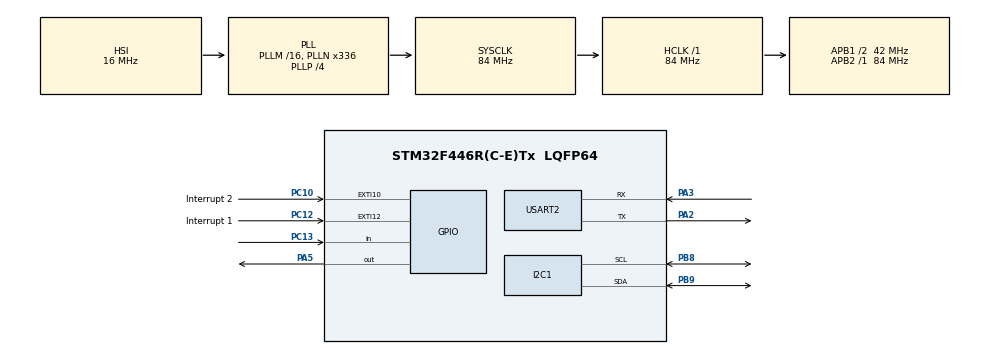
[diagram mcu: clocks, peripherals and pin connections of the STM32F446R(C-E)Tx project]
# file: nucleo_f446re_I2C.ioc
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Mcu.Family=STM32F4
Mcu.Name=STM32F446R(C-E)Tx
Mcu.Package=LQFP64
NVIC.PriorityGroup=NVIC_PRIORITYGROUP_0
PA2.Mode=Asynchronous
PA2.Signal=USART2_TX
PA3.Mode=Asynchronous
PA3.Signal=USART2_RX
PA5.Signal=GPIO_Output
PB8.Mode=I2C
PB8.Signal=I2C1_SCL
PB9.Mode=I2C
PB9.Signal=I2C1_SDA
PC10.GPIO_Label=Interrupt 2
PC10.Signal=GPXTI10
PC12.GPIO_Label=Interrupt 1
PC12.Signal=GPXTI12
PC13.Signal=GPIO_Input
ProjectManager.HeapSize=0x200
ProjectManager.StackSize=0x400
ProjectManager.TargetToolchain=STM32CubeIDE
RCC.AHBFreq_Value=84000000
RCC.APB1CLKDivider=RCC_HCLK_DIV2
RCC.APB1Freq_Value=42000000
RCC.APB1TimFreq_Value=84000000
RCC.APB2Freq_Value=84000000
RCC.APB2TimFreq_Value=84000000
RCC.CortexFreq_Value=84000000
RCC.FLatency-AdvancedSettings=FLASH_LATENCY_2
RCC.HCLKFreq_Value=84000000
RCC.HSE_VALUE=8000000
RCC.HSI_VALUE=16000000
RCC.LSE_VALUE=32768
RCC.PLLN=336
RCC.PLLP=RCC_PLLP_DIV4
RCC.SYSCLKFreq_VALUE=84000000
RCC.SYSCLKSource=RCC_SYSCLKSOURCE_PLLCLK
RCC.USBFreq_Value=168000000
RCC.VCOOutputFreq_Value=336000000
USART2.VirtualMode=VM_ASYNC
board=NUCLEO-F446RE

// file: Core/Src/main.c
/* USER CODE BEGIN Header */
/**
  ******************************************************************************
  * @file           : main.c
  * @brief          : Main program body
  ******************************************************************************
  * @attention
  *
  * Copyright (c) 2024 STMicroelectronics.
  * All rights reserved.
  *
  * This software is licensed under terms that can be found in the LICENSE file
  * in the root directory of this software component.
  * If no LICENSE file comes with this software, it is provided AS-IS.
  *
  ******************************************************************************
  */
/* USER CODE END Header */
#include "main.h"

/* USER CODE BEGIN Includes */
#include "stdio.h"
#include "stdbool.h"
#include "string.h"
/* USER CODE END Includes */

/* USER CODE BEGIN PD */
#define ADXL345_ADDRESS 0x53 << 1
#define ADXL345_DEVID 0x00
#define ADXL345_THRESH_TAP 0x1D
#define ADXL345_TAP_DUR 0x21 //Max time for something to be considered a tap, any more then it isnt?
#define ADXL345_TAP_LAT 0x22 //
#define ADXL345_WINDOW 0x23
#define ADXL345_TAP_AXES 0x2A
#define ADXL345_ACT_TAP_STATUS 0x2B
#define ADXL345_POWER_CTL 0x2D
#define ADXL345_INT_ENABLE 0x2E //Enable tap interupts
#define ADXL345_INT_MAP 0x2F //Map which interupts go to which INT pin
#define ADXL345_INT_SOURCE 0x30 //Status of interupts?
#define ADXL345_DATA_FORMAT 0x31
#define ADXL345_DATAX0 0x32
#define GRAVITY_SCALE 0.003906
/* USER CODE END PD */

I2C_HandleTypeDef hi2c1;

UART_HandleTypeDef huart2;

/* USER CODE BEGIN PV */
float	latest_X;
float	latest_Y;
float	latest_Z;
bool	measuring_data;
char 	char_buff[50];
/* USER CODE END PV */

void SystemClock_Config(void);
static void MX_GPIO_Init(void);
static void MX_I2C1_Init(void);
static void MX_USART2_UART_Init(void);
/* USER CODE BEGIN PFP */

HAL_StatusTypeDef ADXL345_Write(uint8_t reg, uint8_t value) {
    uint8_t data[2] = {reg, value};
    return HAL_I2C_Master_Transmit(&hi2c1, ADXL345_ADDRESS, data, 2, HAL_MAX_DELAY);
}

HAL_StatusTypeDef ADXL345_Read(uint8_t reg, uint8_t *buffer, uint16_t size) {
//	Check to see if sensor is ready to communicate. If so then read sensor
    HAL_StatusTypeDef status = HAL_I2C_Master_Transmit(&hi2c1, ADXL345_ADDRESS, &reg, 1, HAL_MAX_DELAY);
    if (status != HAL_OK) return status;
    return HAL_I2C_Master_Receive(&hi2c1, ADXL345_ADDRESS, buffer, size, HAL_MAX_DELAY);
}

void ADXL345_Init(void) {
    uint8_t buffer;
    // Check device ID
    ADXL345_Read(ADXL345_DEVID, &buffer, 1);
    if (buffer == 0xE5) {

        //Map Interrupts (Single tap on Interrupt 1, Double on Interrupt 2)
		ADXL345_Write(ADXL345_INT_MAP, 0x40);
        //Enable Interrupts
		ADXL345_Write(ADXL345_INT_ENABLE, 0x60);
        // Set Tap threshold (2g = 0.0625* 32) = 0x20
        ADXL345_Write(ADXL345_THRESH_TAP, 0x18);
        // Set Tap duration 10ms
        ADXL345_Write(ADXL345_TAP_DUR, 0x18);
        // Set Tap latency
        ADXL345_Write(ADXL345_TAP_LAT, 0x20);
        // Set Double Tap Window
		ADXL345_Write(ADXL345_WINDOW, 0x18);
		// Enable Tap Axes (Only Z-Axis)
		ADXL345_Write(ADXL345_TAP_AXES, 0x01);
		// Enable measurement mode
		ADXL345_Write(ADXL345_POWER_CTL, 0x08);
		// Set data format to full resolution, +-16g
		ADXL345_Write(ADXL345_DATA_FORMAT, 0x0B);

		snprintf(char_buff, sizeof(char_buff),"CONNECTED & Setup\r\n");

    } else
    {
		snprintf(char_buff, sizeof(char_buff),"ERROR\r\n");
    }
	HAL_UART_Transmit(&huart2, (uint8_t *)char_buff, strlen(char_buff), HAL_MAX_DELAY);

}

void ADXL345_Get_Data(void)
{
	/*Setup buffer and variables for different directions*/
	uint8_t data_buff[6];
	int16_t x_raw, y_raw, z_raw;
	//	Read data from sensor
	HAL_StatusTypeDef status = ADXL345_Read(ADXL345_DATAX0, data_buff, 6);
	/* X0 = data_buff[0], X1 = data_buff[1]
	 * Y0 = data_buff[0], Y1 = data_buff[2]
	 * Z0 = data_buff[0], Z1 = data_buff[5]
	 */
	if (status == HAL_OK) //Make sure the reading is valid
	{
		x_raw = ((int16_t)data_buff[1] << 8) | (data_buff[0]);
		y_raw = ((int16_t)data_buff[3] << 8) | (data_buff[2]);
		z_raw = ((int16_t)data_buff[5] << 8) | (data_buff[4]);

		latest_X = x_raw * GRAVITY_SCALE;
		latest_Y = y_raw * GRAVITY_SCALE;
		latest_Z = z_raw * GRAVITY_SCALE;
        snprintf(char_buff, sizeof(char_buff), "RAW DATE: [X: %d |Y: %d | Z:%d] \r\n", x_raw, y_raw, z_raw);
		HAL_UART_Transmit(&huart2, (uint8_t *)char_buff, strlen(char_buff), HAL_MAX_DELAY);

	}

}

/* Interrupt Functions START*/
void EXTI15_10_IRQHandler(void)
{
	// ISR for Interrupt 1 on ADXL (Double Tap)
	uint8_t adxl_source;
	// ISR for Interrupt 2 on ADXL (Single Tap)
	if (__HAL_GPIO_EXTI_GET_IT(GPIO_PIN_10) != RESET) //Check if pin is raised
	{
		__HAL_GPIO_EXTI_CLEAR_IT(GPIO_PIN_10); //Clear pin

		if (ADXL345_Read(ADXL345_INT_SOURCE, adxl_source, 1) == HAL_OK)
		{
			//ADXL interrupt flags is in ADXL_source. Check if single tap bit is set
			if (adxl_source & 0x40) {
//				Handle the Single tap logic
				snprintf(char_buff, sizeof(char_buff), "Single Tap\r\n");
				HAL_UART_Transmit(&huart2, (uint8_t *)char_buff, strlen(char_buff), HAL_MAX_DELAY);

//				Toggle if the sensor is recording data or not
				measuring_data = !measuring_data;

//				If the sensor is currently measuring data, Save the latest recorded data
//				if (measuring_data)
//				{
//					snprintf(char_buff, sizeof(char_buff), "CONVERTED:[X: %.3f |Y: %.3f | Z:%.3f] \r\n", latest_X, latest_Y, latest_Z);
//					HAL_UART_Transmit(&huart2, (uint8_t *)char_buff, strlen(char_buff), HAL_MAX_DELAY);
//				}

			}
		} else {

			snprintf(char_buff, sizeof(char_buff), "Could not read Interrupt source\r\n");
			HAL_UART_Transmit(&huart2, (uint8_t *)char_buff, strlen(char_buff), HAL_MAX_DELAY);

		}
	} else if (__HAL_GPIO_EXTI_GET_IT(GPIO_PIN_12) != RESET) //Check if pin is raised
	{
		__HAL_GPIO_EXTI_CLEAR_IT(GPIO_PIN_12); //Clear pin

		if (ADXL345_Read(ADXL345_INT_SOURCE, adxl_source, 1) == HAL_OK)
		{
			//ADXL interrupt flags is in ADXL_source. Check if single tap bit is set
			if (adxl_source & 0x20) {
//				Handle the Double tap logic
				snprintf(char_buff, sizeof(char_buff), "Double Tap\r\n");
				HAL_UART_Transmit(&huart2, (uint8_t *)char_buff, strlen(char_buff), HAL_MAX_DELAY);

			}
		} else {
			snprintf(char_buff, sizeof(char_buff), "Could not read Interrupt source\r\n");
			HAL_UART_Transmit(&huart2, (uint8_t *)char_buff, strlen(char_buff), HAL_MAX_DELAY);

		}
	}

}

/* Interrupt Functions END*/

/* USER CODE END PFP */

int main(void)
{

  /* MCU Configuration--------------------------------------------------------*/

  /* Reset of all peripherals, Initializes the Flash interface and the Systick. */
  HAL_Init();

  /* Configure the system clock */
  SystemClock_Config();

  /* Initialize all configured peripherals */
  MX_GPIO_Init();
  MX_I2C1_Init();
  MX_USART2_UART_Init();
  /* USER CODE BEGIN 2 */
  ADXL345_Init();
  measuring_data = true;

  /* USER CODE END 2 */

  /* Infinite loop */
  /* USER CODE BEGIN WHILE */
  while (1)
  {
	  if (measuring_data)
	  {
		  ADXL345_Get_Data();
	  }
	  HAL_Delay(500);

    /* USER CODE END WHILE */

  }
}

void SystemClock_Config(void)
{
  RCC_OscInitTypeDef RCC_OscInitStruct = {0};
  RCC_ClkInitTypeDef RCC_ClkInitStruct = {0};

  /** Configure the main internal regulator output voltage
  */
  __HAL_RCC_PWR_CLK_ENABLE();
  __HAL_PWR_VOLTAGESCALING_CONFIG(PWR_REGULATOR_VOLTAGE_SCALE3);

  /** Initializes the RCC Oscillators according to the specified parameters
  * in the RCC_OscInitTypeDef structure.
  */
  RCC_OscInitStruct.OscillatorType = RCC_OSCILLATORTYPE_HSI;
  RCC_OscInitStruct.HSIState = RCC_HSI_ON;
  RCC_OscInitStruct.HSICalibrationValue = RCC_HSICALIBRATION_DEFAULT;
  RCC_OscInitStruct.PLL.PLLState = RCC_PLL_ON;
  RCC_OscInitStruct.PLL.PLLSource = RCC_PLLSOURCE_HSI;
  RCC_OscInitStruct.PLL.PLLM = 16;
  RCC_OscInitStruct.PLL.PLLN = 336;
  RCC_OscInitStruct.PLL.PLLP = RCC_PLLP_DIV4;
  RCC_OscInitStruct.PLL.PLLQ = 2;
  RCC_OscInitStruct.PLL.PLLR = 2;
  if (HAL_RCC_OscConfig(&RCC_OscInitStruct) != HAL_OK)
  {
    Error_Handler();
  }

  /** Initializes the CPU, AHB and APB buses clocks
  */
  RCC_ClkInitStruct.ClockType = RCC_CLOCKTYPE_HCLK|RCC_CLOCKTYPE_SYSCLK
                              |RCC_CLOCKTYPE_PCLK1|RCC_CLOCKTYPE_PCLK2;
  RCC_ClkInitStruct.SYSCLKSource = RCC_SYSCLKSOURCE_PLLCLK;
  RCC_ClkInitStruct.AHBCLKDivider = RCC_SYSCLK_DIV1;
  RCC_ClkInitStruct.APB1CLKDivider = RCC_HCLK_DIV2;
  RCC_ClkInitStruct.APB2CLKDivider = RCC_HCLK_DIV1;

  if (HAL_RCC_ClockConfig(&RCC_ClkInitStruct, FLASH_LATENCY_2) != HAL_OK)
  {
    Error_Handler();
  }
}

static void MX_I2C1_Init(void)
{

  hi2c1.Instance = I2C1;
  hi2c1.Init.ClockSpeed = 100000;
  hi2c1.Init.DutyCycle = I2C_DUTYCYCLE_2;
  hi2c1.Init.OwnAddress1 = 0;
  hi2c1.Init.AddressingMode = I2C_ADDRESSINGMODE_7BIT;
  hi2c1.Init.DualAddressMode = I2C_DUALADDRESS_DISABLE;
  hi2c1.Init.OwnAddress2 = 0;
  hi2c1.Init.GeneralCallMode = I2C_GENERALCALL_DISABLE;
  hi2c1.Init.NoStretchMode = I2C_NOSTRETCH_DISABLE;
  if (HAL_I2C_Init(&hi2c1) != HAL_OK)
  {
    Error_Handler();
  }

}

static void MX_USART2_UART_Init(void)
{

  huart2.Instance = USART2;
  huart2.Init.BaudRate = 115200;
  huart2.Init.WordLength = UART_WORDLENGTH_8B;
  huart2.Init.StopBits = UART_STOPBITS_1;
  huart2.Init.Parity = UART_PARITY_NONE;
  huart2.Init.Mode = UART_MODE_TX_RX;
  huart2.Init.HwFlowCtl = UART_HWCONTROL_NONE;
  huart2.Init.OverSampling = UART_OVERSAMPLING_16;
  if (HAL_UART_Init(&huart2) != HAL_OK)
  {
    Error_Handler();
  }

}

static void MX_GPIO_Init(void)
{
  GPIO_InitTypeDef GPIO_InitStruct = {0};

  /* GPIO Ports Clock Enable */
  __HAL_RCC_GPIOC_CLK_ENABLE();
  __HAL_RCC_GPIOA_CLK_ENABLE();
  __HAL_RCC_GPIOB_CLK_ENABLE();

  /*Configure GPIO pin Output Level */
  HAL_GPIO_WritePin(GPIOA, GPIO_PIN_5, GPIO_PIN_RESET);

  /*Configure GPIO pin : PC13 */
  GPIO_InitStruct.Pin = GPIO_PIN_13;
  GPIO_InitStruct.Mode = GPIO_MODE_INPUT;
  GPIO_InitStruct.Pull = GPIO_NOPULL;
  HAL_GPIO_Init(GPIOC, &GPIO_InitStruct);

  /*Configure GPIO pin : PA5 */
  GPIO_InitStruct.Pin = GPIO_PIN_5;
  GPIO_InitStruct.Mode = GPIO_MODE_OUTPUT_PP;
  GPIO_InitStruct.Pull = GPIO_NOPULL;
  GPIO_InitStruct.Speed = GPIO_SPEED_FREQ_LOW;
  HAL_GPIO_Init(GPIOA, &GPIO_InitStruct);

  /*Configure GPIO pins : Interrupt_2_Pin Interrupt_1_Pin */
  GPIO_InitStruct.Pin = Interrupt_2_Pin|Interrupt_1_Pin;
  GPIO_InitStruct.Mode = GPIO_MODE_IT_RISING;
  GPIO_InitStruct.Pull = GPIO_NOPULL;
  HAL_GPIO_Init(GPIOC, &GPIO_InitStruct);

/* USER CODE BEGIN MX_GPIO_Init_2 */
  HAL_NVIC_SetPriority(EXTI15_10_IRQn, 2, 0);
  HAL_NVIC_EnableIRQ(EXTI15_10_IRQn);
/* USER CODE END MX_GPIO_Init_2 */
}

void Error_Handler(void)
{
  __disable_irq();
  while (1)
  {
  }
}
